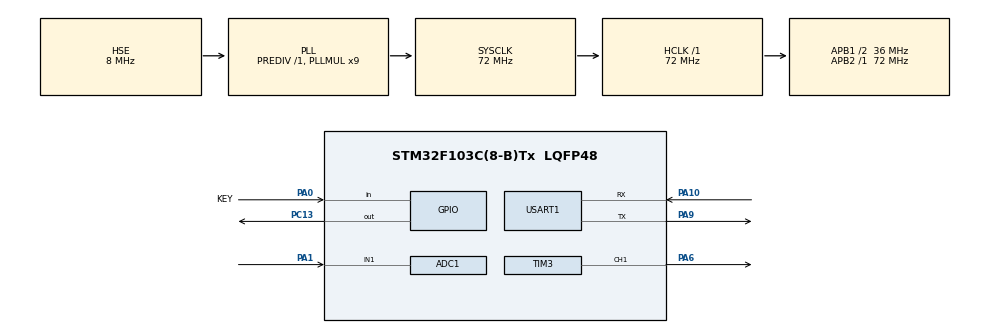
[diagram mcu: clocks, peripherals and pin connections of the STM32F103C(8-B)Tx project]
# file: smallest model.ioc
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ADC1.Channel-2\#ChannelRegularConversion=ADC_CHANNEL_1
ADC1.ContinuousConvMode=ENABLE
ADC1.NbrOfConversionFlag=1
ADC1.Rank-2\#ChannelRegularConversion=1
ADC1.SamplingTime-2\#ChannelRegularConversion=ADC_SAMPLETIME_71CYCLES_5
ADC1.master=1
Dma.ADC1.0.Direction=DMA_PERIPH_TO_MEMORY
Dma.ADC1.0.Instance=DMA1_Channel1
Dma.ADC1.0.MemDataAlignment=DMA_MDATAALIGN_HALFWORD
Dma.ADC1.0.MemInc=DMA_MINC_ENABLE
Dma.ADC1.0.Mode=DMA_CIRCULAR
Dma.ADC1.0.PeriphDataAlignment=DMA_PDATAALIGN_HALFWORD
Dma.ADC1.0.PeriphInc=DMA_PINC_DISABLE
Dma.ADC1.0.Priority=DMA_PRIORITY_LOW
Dma.Request0=ADC1
Mcu.Family=STM32F1
Mcu.Name=STM32F103C(8-B)Tx
Mcu.Package=LQFP48
NVIC.DMA1_Channel1_IRQn=true\:0\:0\:false\:false\:true\:false\:true\:true
NVIC.PriorityGroup=NVIC_PRIORITYGROUP_4
NVIC.TIM2_IRQn=true\:0\:0\:false\:false\:true\:true\:true\:true
NVIC.USART1_IRQn=true\:0\:0\:false\:false\:true\:true\:true\:true
PA0-WKUP.GPIO_Label=KEY
PA0-WKUP.GPIO_PuPd=GPIO_PULLUP
PA0-WKUP.Signal=GPIO_Input
PA1.Signal=ADCx_IN1
PA10.Mode=Asynchronous
PA10.Signal=USART1_RX
PA13.Mode=Serial_Wire
PA13.Signal=SYS_JTMS-SWDIO
PA14.Mode=Serial_Wire
PA14.Signal=SYS_JTCK-SWCLK
PA6.Signal=S_TIM3_CH1
PA9.Mode=Asynchronous
PA9.Signal=USART1_TX
PC13-TAMPER-RTC.GPIO_ModeDefaultOutputPP=GPIO_MODE_OUTPUT_PP
PC13-TAMPER-RTC.GPIO_PuPd=GPIO_NOPULL
PC13-TAMPER-RTC.PinState=GPIO_PIN_SET
PC13-TAMPER-RTC.Signal=GPIO_Output
PD0-OSC_IN.Mode=HSE-External-Oscillator
PD0-OSC_IN.Signal=RCC_OSC_IN
PD1-OSC_OUT.Mode=HSE-External-Oscillator
PD1-OSC_OUT.Signal=RCC_OSC_OUT
ProjectManager.HeapSize=0x200
ProjectManager.StackSize=0x400
ProjectManager.TargetToolchain=MDK-ARM V5.32
RCC.ADCPresc=RCC_ADCPCLK2_DIV6
RCC.AHBFreq_Value=72000000
RCC.APB1CLKDivider=RCC_HCLK_DIV2
RCC.APB1Freq_Value=36000000
RCC.APB1TimFreq_Value=72000000
RCC.APB2Freq_Value=72000000
RCC.APB2TimFreq_Value=72000000
RCC.HCLKFreq_Value=72000000
RCC.PLLMUL=RCC_PLL_MUL9
RCC.PLLSourceVirtual=RCC_PLLSOURCE_HSE
RCC.SYSCLKFreq_VALUE=72000000
RCC.SYSCLKSource=RCC_SYSCLKSOURCE_PLLCLK
RCC.USBFreq_Value=72000000
SH.ADCx_IN1.0=ADC1_IN1,IN1
SH.S_TIM3_CH1.0=TIM3_CH1,PWM Generation1 CH1
TIM2.AutoReloadPreload=TIM_AUTORELOAD_PRELOAD_ENABLE
TIM2.Period=9999
TIM2.Prescaler=71
TIM3.Channel-PWM\ Generation1\ CH1=TIM_CHANNEL_1
TIM3.Period=19999
TIM3.Prescaler=71
TIM3.Pulse-PWM\ Generation1\ CH1=1500
USART1.VirtualMode=VM_ASYNC
VP_TIM2_VS_ClockSourceINT.Mode=Internal
VP_TIM3_VS_ClockSourceINT.Mode=Internal
board=custom

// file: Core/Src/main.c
/* USER CODE BEGIN Header */
/**
  ******************************************************************************
  * @file           : main.c
  * @brief          : Main program body
  ******************************************************************************
  * @attention
  *
  * Copyright (c) 2026 STMicroelectronics.
  * All rights reserved.
  *
  * This software is licensed under terms that can be found in the LICENSE file
  * in the root directory of this software component.
  * If no LICENSE file comes with this software, it is provided AS-IS.
  *
  ******************************************************************************
  */
/* USER CODE END Header */
#include "main.h"
#include "adc.h"
#include "dma.h"
#include "tim.h"
#include "usart.h"
#include "gpio.h"

/* USER CODE BEGIN Includes */
#include <stdio.h>
#include <stdio.h>
#include <string.h>
/* USER CODE END Includes */

/* USER CODE BEGIN PV */
volatile uint8_t key_event = 0; //一次有效按下事件
volatile uint8_t tick_500 = 0; //500ms心跳标志

uint8_t key_state = 1; //消抖后的稳定状态； 1 = 松开  0 = 按下
uint8_t low_cnt = 0; //连续读到低的次数
uint8_t high_cnt = 0; //连续读到高的次数
uint8_t tick_cnt = 0; //10ms计数，数到50 = 500ms

volatile uint8_t rx_byte;  //中断每次只往这里放一个字节
char  line_buf[64];  //拼一行的缓冲区
volatile uint8_t line_len = 0; //当前收了多少个字符
volatile uint8_t line_ready = 0; //一整行收完的标志
volatile uint32_t rx_count = 0; //一共收了多少个字节（调试用）

#define ADC_BUF_LEN 64
uint16_t adc_buf[ADC_BUF_LEN];  //DMA自动往里面填
volatile uint8_t adc_half = 0;  //搬满一半
volatile uint8_t adc_full = 0;  //搬满一圈

 uint16_t pwm_ccr = 0;     //当前比较值（0-1000）
int8_t pwm_dir = 1;       //1 = 渐亮，  -1 = 渐暗

uint16_t servo_ccr = 1500;
uint8_t servo_step = 0;
uint8_t servo_tick = 0;
/* USER CODE END PV */

void SystemClock_Config(void);

/* USER CODE BEGIN 0 */
int fputc(int ch, FILE *f)
{
    HAL_UART_Transmit(&huart1, (uint8_t *)&ch, 1, 0xFFFF);
    return ch;
}
/* USER CODE END 0 */

int main(void)
{

  /* MCU Configuration--------------------------------------------------------*/

  /* Reset of all peripherals, Initializes the Flash interface and the Systick. */
  HAL_Init();

  /* Configure the system clock */
  SystemClock_Config();

  /* Initialize all configured peripherals */
  MX_GPIO_Init();
  MX_DMA_Init();
  MX_USART1_UART_Init();
  MX_TIM2_Init();
  MX_ADC1_Init();
  MX_TIM3_Init();
  /* USER CODE BEGIN 2 */
HAL_TIM_Base_Start_IT(&htim2); //启动定时器2
HAL_UART_Receive_IT(&huart1, &rx_byte, 1); //启动第一次接收

HAL_ADC_Start_DMA(&hadc1, (uint32_t*)adc_buf, ADC_BUF_LEN); //启动DMA

HAL_TIM_PWM_Start(&htim3, TIM_CHANNEL_1); //启动PWM
  /* USER CODE END 2 */

  /* Infinite loop */
  while (1)
  {

    /* USER CODE BEGIN 3 */
		if(key_event)
		{
		   key_event = 0;
		   HAL_GPIO_TogglePin(GPIOC, GPIO_PIN_13);
			printf("key pressed @ %lu ms\r\n", HAL_GetTick());
		}

		if(tick_500)
		{
			uint32_t sum = 0;
			uint16_t i;
			uint16_t raw;
			uint32_t mv;

			tick_500 = 0;
			/* for (i = 0; i < ADC_BUF_LEN; i++)
			{
			    sum += adc_buf[i];
			}
			raw = (uint16_t)(sum / ADC_BUF_LEN);

			mv = (uint32_t)((uint64_t)raw * 3300 / 4096);
			printf("avg = %u %lu.%03lu V  head = [%u %u %u]\r\n",
			       raw, mv/1000, mv%1000,
			       adc_buf[0], adc_buf[1], adc_buf[2]);

			printf("CCR=%u  duty=%u%%\r\n", pwm_ccr, pwm_ccr / 10); */

			 if (++servo_tick >= 4)              // 4 � 500ms = 2 ?
    {
        servo_tick = 0;

        if      (servo_step == 0) servo_ccr = 500;    // 0�
        else if (servo_step == 1) servo_ccr = 1500;   // 90�
        else                      servo_ccr = 2500;   // 180�

        __HAL_TIM_SET_COMPARE(&htim3, TIM_CHANNEL_1, servo_ccr);
        printf("servo -> %u us\r\n", servo_ccr);

        servo_step = (servo_step + 1) % 3;
    }
		}

	if (line_ready)
{
    line_ready = 0;

    if (strcmp(line_buf, "led on") == 0)
    {
        HAL_GPIO_WritePin(GPIOC, GPIO_PIN_13, GPIO_PIN_RESET);   // ??? = ?
        printf("LED ON\r\n");
    }
    else if (strcmp(line_buf, "led off") == 0)
    {
        HAL_GPIO_WritePin(GPIOC, GPIO_PIN_13, GPIO_PIN_SET);     // ??? = ?
        printf("LED OFF\r\n");
    }
    else
    {
        printf("unknown: <%s> len=%d\r\n", line_buf, (int)strlen(line_buf));
    }
}
}
  /* USER CODE END 3 */
}

void SystemClock_Config(void)
{
  RCC_OscInitTypeDef RCC_OscInitStruct = {0};
  RCC_ClkInitTypeDef RCC_ClkInitStruct = {0};
  RCC_PeriphCLKInitTypeDef PeriphClkInit = {0};

  /** Initializes the RCC Oscillators according to the specified parameters
  * in the RCC_OscInitTypeDef structure.
  */
  RCC_OscInitStruct.OscillatorType = RCC_OSCILLATORTYPE_HSE;
  RCC_OscInitStruct.HSEState = RCC_HSE_ON;
  RCC_OscInitStruct.HSEPredivValue = RCC_HSE_PREDIV_DIV1;
  RCC_OscInitStruct.HSIState = RCC_HSI_ON;
  RCC_OscInitStruct.PLL.PLLState = RCC_PLL_ON;
  RCC_OscInitStruct.PLL.PLLSource = RCC_PLLSOURCE_HSE;
  RCC_OscInitStruct.PLL.PLLMUL = RCC_PLL_MUL9;
  if (HAL_RCC_OscConfig(&RCC_OscInitStruct) != HAL_OK)
  {
    Error_Handler();
  }

  /** Initializes the CPU, AHB and APB buses clocks
  */
  RCC_ClkInitStruct.ClockType = RCC_CLOCKTYPE_HCLK|RCC_CLOCKTYPE_SYSCLK
                              |RCC_CLOCKTYPE_PCLK1|RCC_CLOCKTYPE_PCLK2;
  RCC_ClkInitStruct.SYSCLKSource = RCC_SYSCLKSOURCE_PLLCLK;
  RCC_ClkInitStruct.AHBCLKDivider = RCC_SYSCLK_DIV1;
  RCC_ClkInitStruct.APB1CLKDivider = RCC_HCLK_DIV2;
  RCC_ClkInitStruct.APB2CLKDivider = RCC_HCLK_DIV1;

  if (HAL_RCC_ClockConfig(&RCC_ClkInitStruct, FLASH_LATENCY_2) != HAL_OK)
  {
    Error_Handler();
  }
  PeriphClkInit.PeriphClockSelection = RCC_PERIPHCLK_ADC;
  PeriphClkInit.AdcClockSelection = RCC_ADCPCLK2_DIV6;
  if (HAL_RCCEx_PeriphCLKConfig(&PeriphClkInit) != HAL_OK)
  {
    Error_Handler();
  }
}

/* USER CODE BEGIN 4 */
void HAL_TIM_PeriodElapsedCallback(TIM_HandleTypeDef *htim)
{
     if(htim->Instance != TIM2) return; //判断是不是我们所设置的定时器
	   uint8_t raw = HAL_GPIO_ReadPin(KEY_GPIO_Port, KEY_Pin); //读取按钮的状态

	   if(raw == GPIO_PIN_RESET) //读到低
		 {
			 high_cnt = 0;
			 if (++low_cnt >= 2)				 //连续2次低（20ms）
			 {
				 low_cnt = 0;
				 if(key_state != 0)
				 {
           key_state = 0;
           key_event = 1;
				 }
			 }
		 }
		 else			 //读到高
{
        low_cnt = 0;
        if (++high_cnt >= 2)                     // 连续两次高才认松开
        {
            high_cnt = 0;
            key_state = 1;
        }
}

if (++tick_cnt >= 50)                        // 50 ? 10ms = 500ms
    {
        tick_cnt = 0;
        tick_500 = 1;
    }

		/* if(pwm_dir > 0)
		{
		   if(pwm_ccr + 10 <= 1000)  pwm_ccr += 10;
			 else  {pwm_ccr = 1000; pwm_dir = -1;}
		}
		else
		{
		   if(pwm_ccr >= 10)   pwm_ccr -= 10;
			 else  {pwm_ccr = 0;  pwm_dir = 1;}
		}
		__HAL_TIM_SET_COMPARE(&htim3, TIM_CHANNEL_1, pwm_ccr); */
}

void HAL_UART_RxCpltCallback(UART_HandleTypeDef *huart)
{
     if(huart->Instance != USART1)return;

	   rx_count++;
	   if (rx_byte == '\r' || rx_byte == '\n')
{
    if (line_len > 0)                    // ????(\r\n ?? \n ???????)
    {
        line_buf[line_len] = '\0';
        line_ready = 1;
        line_len = 0;
    }
}
else
{
    if (line_len < sizeof(line_buf) - 1)
    {
        line_buf[line_len++] = rx_byte;
    }
}
		 HAL_UART_Receive_IT(&huart1, &rx_byte, 1);
}

void HAL_ADC_ConvHalfCpltCallback(ADC_HandleTypeDef *hadc)
{
     if(hadc->Instance == ADC1) adc_half = 1;  //前32个搬完了
}

void HAL_ADC_ConvCpltCallback(ADC_HandleTypeDef *hadc)
{
     if(hadc->Instance == ADC1) adc_full = 1;  //64个全部搬完了
}
/* USER CODE END 4 */

void Error_Handler(void)
{
  __disable_irq();
  while (1)
  {
  }
}
